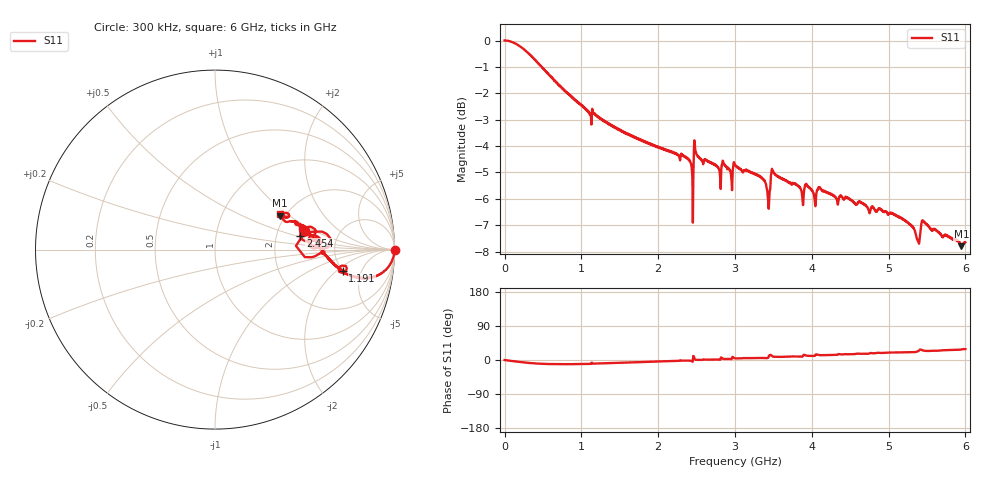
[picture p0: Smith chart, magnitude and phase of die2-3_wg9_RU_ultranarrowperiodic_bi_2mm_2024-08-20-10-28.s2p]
!Keysight Technologies,P9374A,MY57304198,A.17.20.09
!Date: Tuesday, August 20, 2024 10:28:49
!Correction: S11(C  1-Port  )
!S21(C  1-Port  )
!S12(Off)
!S22(Off)
!S2P File: Measurements: S11, S21, S12, S22:
# Hz S  dB  R 50
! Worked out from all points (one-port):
!   6000 points, 300 kHz to 6 GHz, reference 50 ohm
!   lowest |S11| = -7.8 dB at 5.949 GHz (marker M1), VSWR 2.38, Z = 93.8 + j42.7 ohm
!   |S11| at or under -10 dB: nowhere
!   S11 on the Smith chart (normalised r, x): 300 kHz: open; 1.191 GHz: 4.93, -2.43; 2.454 GHz: 2.73, +0.54; 6 GHz: 1.86, +0.90
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300000  0.00 -0.0  -200.00 45.0  -200.00 45.0  -200.00 45.0
2.443285e8  -0.31 -6.2  -200.00 45.0  -200.00 45.0  -200.00 45.0
4.243495e8  -0.81 -9.2  -200.00 45.0  -200.00 45.0  -200.00 45.0
1.000417e9  -2.47 -10.6  -200.00 45.0  -200.00 45.0  -200.00 45.0
1.191439e9  -2.84 -9.5  -200.00 45.0  -200.00 45.0  -200.00 45.0
2.000533e9  -4.06 -3.9  -200.00 45.0  -200.00 45.0  -200.00 45.0
2.420582e9  -4.63 -2.0  -200.00 45.0  -200.00 45.0  -200.00 45.0
2.453586e9  -6.35 9.0  -200.00 45.0  -200.00 45.0  -200.00 45.0
2.494591e9  -4.27 0.5  -200.00 45.0  -200.00 45.0  -200.00 45.0
2.793626e9  -4.89 1.0  -200.00 45.0  -200.00 45.0  -200.00 45.0
3.00065e9  -4.71 4.5  -200.00 45.0  -200.00 45.0  -200.00 45.0
3.357692e9  -5.24 5.4  -200.00 45.0  -200.00 45.0  -200.00 45.0
3.433701e9  -6.17 6.3  -200.00 45.0  -200.00 45.0  -200.00 45.0
3.468705e9  -5.12 12.9  -200.00 45.0  -200.00 45.0  -200.00 45.0
3.503709e9  -5.01 8.7  -200.00 45.0  -200.00 45.0  -200.00 45.0
4.000767e9  -5.69 10.8  -200.00 45.0  -200.00 45.0  -200.00 45.0
4.077776e9  -5.65 13.9  -200.00 45.0  -200.00 45.0  -200.00 45.0
5.000883e9  -6.58 19.6  -200.00 45.0  -200.00 45.0  -200.00 45.0
5.389929e9  -7.64 24.0  -200.00 45.0  -200.00 45.0  -200.00 45.0
5.457937e9  -6.87 24.6  -200.00 45.0  -200.00 45.0  -200.00 45.0
5.948994e9  -7.79 27.7  -200.00 45.0  -200.00 45.0  -200.00 45.0
6e9  -7.65 28.7  -200.00 45.0  -200.00 45.0  -200.00 45.0
